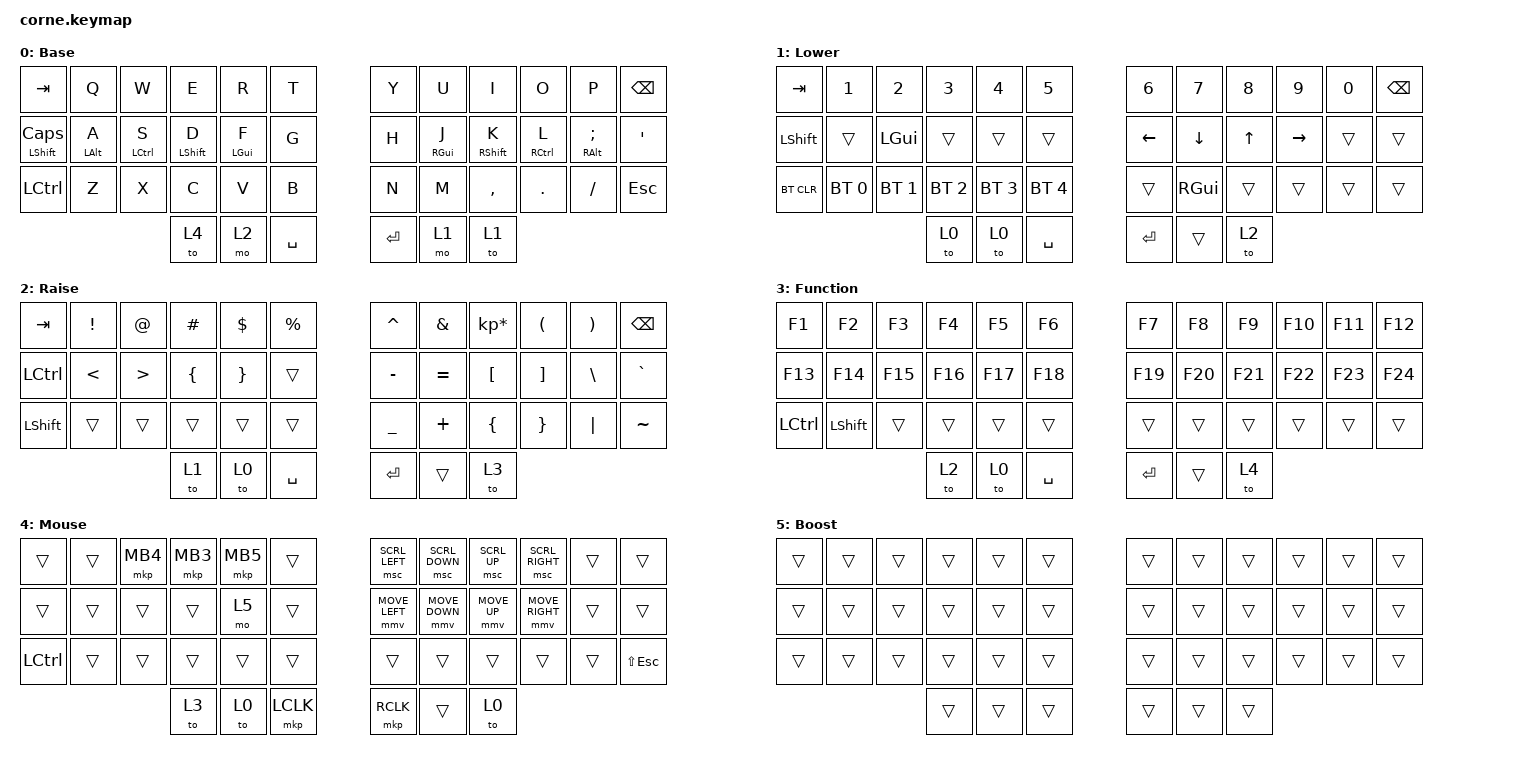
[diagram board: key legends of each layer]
/*
 * Copyright (c) 2020 The ZMK Contributors
 *
 * SPDX-License-Identifier: MIT
 */

#define ZMK_POINTING_DEFAULT_SCRL_VAL 30
#define ZMK_POINTING_DEFAULT_MOVE_VAL 600

#include <input/processors.dtsi>
#include <behaviors.dtsi>
#include <dt-bindings/zmk/bt.h>
#include <dt-bindings/zmk/keys.h>
#include <dt-bindings/zmk/pointing.h>

&mmv_input_listener {
    boost {
        layers = <5>;
        input-processors = <&zip_xy_scaler 2 1>;
    };
};

/ {
    macros {
        lguilshft: shftctrl {
            compatible = "zmk,behavior-macro";
            #binding-cells = <0>;
            bindings = <&kp LEFT_GUI &kp LEFT_SHIFT>;
            label = "SHFTCTRL";
        };
    };

    behaviors {
        hml: homerow_mods_left {
            compatible = "zmk,behavior-hold-tap";
            label = "HOMEROW_MODS_LEFT_HAND";
            bindings = <&kp>, <&kp>;

            #binding-cells = <2>;
            tapping-term-ms = <280>;
            hold-trigger-key-positions = <39 40 41 30 31 32 33 34 35 23 22 21 20 19 18 6 7 8 10 9 11>;
            require-prior-idle-ms = <150>;
            flavor = "balanced";
        };

        hmr: homerow_mods_right {
            compatible = "zmk,behavior-hold-tap";
            label = "HOMEROW_MODS_RIGHT_HAND";
            bindings = <&kp>, <&kp>;

            #binding-cells = <2>;
            tapping-term-ms = <280>;
            hold-trigger-key-positions = <0 1 2 3 4 5 17 16 15 14 13 12 24 25 26 27 28 29 36 37 38>;
            require-prior-idle-ms = <150>;
            flavor = "balanced";
        };
    };

    keymap {
        compatible = "zmk,keymap";

        default_layer {
            // -----------------------------------------------------------------------------------------
            // |  TAB |  Q  |  W  |  E  |  R  |  T  |   |  Y  |  U   |  I  |  O  |  P  | BKSP |
            // | CTRL |  A  |  S  |  D  |  F  |  G  |   |  H  |  J   |  K  |  L  |  ;  |  '   |
            // | SHFT |  Z  |  X  |  C  |  V  |  B  |   |  N  |  M   |  ,  |  .  |  /  | ESC  |
            //                    | GUI | LWR | SPC |   | ENT | RSE  | ALT |

            display-name = "Base";
            bindings = <
&kp TAB                  &kp Q            &kp W                &kp E              &kp R            &kp T        &kp Y    &kp U             &kp I               &kp O                 &kp P                     &kp BSPC
&mt LEFT_SHIFT CAPSLOCK  &hml LEFT_ALT A  &hml LEFT_CONTROL S  &hml LEFT_SHIFT D  &hml LEFT_GUI F  &kp G        &kp H    &hmr RIGHT_GUI J  &hmr RIGHT_SHIFT K  &hmr RIGHT_CONTROL L  &hmr RIGHT_ALT SEMICOLON  &kp SQT
&kp LEFT_CONTROL         &kp Z            &kp X                &kp C              &kp V            &kp B        &kp N    &kp M             &kp COMMA           &kp DOT               &kp FSLH                  &kp ESC
                                                               &to 4              &mo 2            &kp SPACE    &kp RET  &mo 1             &to 1
            >;
        };

        lower_layer {
            // -----------------------------------------------------------------------------------------
            // |  TAB |  1  |  2  |  3  |  4  |  5  |   |  6  |  7  |  8  |  9  |  0  | BKSP |
            // | BTCLR| BT1 | BT2 | BT3 | BT4 | BT5 |   | LFT | DWN |  UP | RGT |     |      |
            // | BTCLR| BT1 | BT2 | BT3 | BT4 | BT5 |   |     |     |     |     |     |      |
            //                    |TO(0)|TO(0)| SPC |   | ENT |     |TO(2)|

            display-name = "Lower";
            bindings = <
&kp TAB         &kp N1        &kp N2        &kp N3        &kp N4        &kp N5          &kp N6    &kp N7         &kp N8  &kp N9     &kp N0  &kp BSPC
&kp LEFT_SHIFT  &trans        &kp LEFT_GUI  &trans        &trans        &trans          &kp LEFT  &kp DOWN       &kp UP  &kp RIGHT  &trans  &trans
&bt BT_CLR      &bt BT_SEL 0  &bt BT_SEL 1  &bt BT_SEL 2  &bt BT_SEL 3  &bt BT_SEL 4    &trans    &kp RIGHT_GUI  &trans  &trans     &trans  &trans
                                            &to 0         &to 0         &kp SPACE       &kp RET   &trans         &to 2
            >;
        };

        raise_layer {
            // -----------------------------------------------------------------------------------------
            // |  TAB |  !  |  @  |  #  |  $  |  %  |   |  ^  |  &  |  *  |  (  |  )  | BKSP |
            // | CTRL |     |     |     |     |     |   |  -  |  =  |  [  |  ]  |  \  |  `   |
            // | SHFT |     |     |     |     |     |   |  _  |  +  |  {  |  }  | "|" |  ~   |
            //                    |TO(1)|     | SPC |   | ENT |     |TO(3)|

            display-name = "Raise";
            bindings = <
&kp TAB    &kp EXCL       &kp AT            &kp HASH        &kp DLLR         &kp PRCNT    &kp CARET  &kp AMPS   &kp KP_MULTIPLY  &kp LPAR  &kp RPAR  &kp BSPC
&kp LCTRL  &kp LESS_THAN  &kp GREATER_THAN  &kp LEFT_BRACE  &kp RIGHT_BRACE  &trans       &kp MINUS  &kp EQUAL  &kp LBKT         &kp RBKT  &kp BSLH  &kp GRAVE
&kp LSHFT  &trans         &trans            &trans          &trans           &trans       &kp UNDER  &kp PLUS   &kp LBRC         &kp RBRC  &kp PIPE  &kp TILDE
                                            &to 1           &to 0            &kp SPACE    &kp RET    &trans     &to 3
            >;
        };

        function_layer {
            display-name = "Function";
            bindings = <
&kp F1            &kp F2          &kp F3   &kp F4   &kp F5   &kp F6       &kp F7   &kp F8   &kp F9   &kp F10  &kp F11  &kp F12
&kp F13           &kp F14         &kp F15  &kp F16  &kp F17  &kp F18      &kp F19  &kp F20  &kp F21  &kp F22  &kp F23  &kp F24
&kp LEFT_CONTROL  &kp LEFT_SHIFT  &trans   &trans   &trans   &trans       &trans   &trans   &trans   &trans   &trans   &trans
                                           &to 2    &to 0    &kp SPACE    &kp RET  &trans   &to 4
            >;
        };

        mouse_layer {
            bindings = <
&trans            &trans  &mkp MB4  &mkp MB3  &mkp MB5  &trans       &msc SCRL_LEFT  &msc SCRL_DOWN  &msc SCRL_UP  &msc SCRL_RIGHT  &trans  &trans
&trans            &trans  &trans    &trans    &mo 5     &trans       &mmv MOVE_LEFT  &mmv MOVE_DOWN  &mmv MOVE_UP  &mmv MOVE_RIGHT  &trans  &trans
&kp LEFT_CONTROL  &trans  &trans    &trans    &trans    &trans       &trans          &trans          &trans        &trans           &trans  &kp LS(ESCAPE)
                                    &to 3     &to 0     &mkp LCLK    &mkp RCLK       &trans          &to 0
            >;

            label = "Mouse";
        };

        mouse_speed_layer {
            display-name = "Boost";
            bindings = <
&trans  &trans  &trans  &trans  &trans  &trans    &trans  &trans  &trans  &trans  &trans  &trans
&trans  &trans  &trans  &trans  &trans  &trans    &trans  &trans  &trans  &trans  &trans  &trans
&trans  &trans  &trans  &trans  &trans  &trans    &trans  &trans  &trans  &trans  &trans  &trans
                        &trans  &trans  &trans    &trans  &trans  &trans
            >;
        };
    };
};
